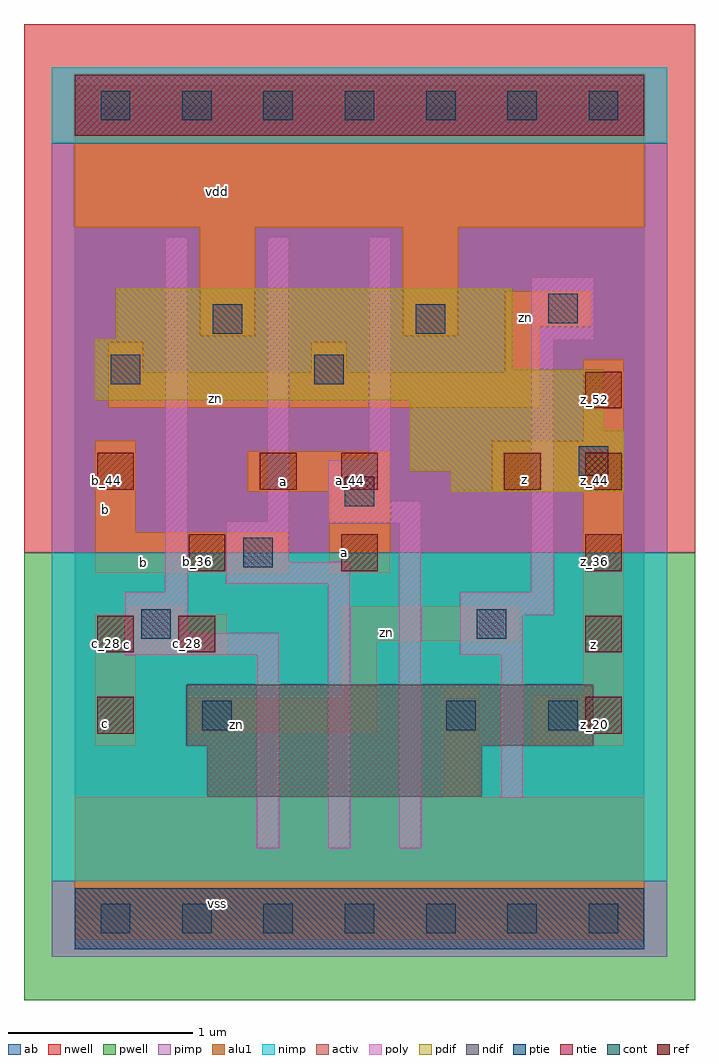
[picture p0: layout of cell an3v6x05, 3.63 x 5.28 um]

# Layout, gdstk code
import gdstk
lib = gdstk.Library(unit=1e-6, precision=2.5e-09)
def R(c, l, rs):  # rectangles x0, y0, x1, y1
    for r in rs: c.add(gdstk.rectangle(r[:2], r[2:], *l))
def A(c, l, x, y, w, h, nx, ny, dx, dy):  # array of equal rectangles
    R(c, l, [(x+i*dx, y+j*dy, x+i*dx+w, y+j*dy+h) for i in range(nx) for j in range(ny)])
ndif = (3, 0)
pdif = (4, 0)
ntie = (5, 0)
ptie = (6, 0)
ref = (24, 0)
cont = (25, 0)
pwell = (41, 0)
nwell = (42, 0)
activ = (43, 0)
pimp = (44, 0)
nimp = (45, 0)
poly = (46, 0)
alu1 = (49, 0)
ab = (63, 0)

an3v6x05 = lib.new_cell('an3v6x05')
R(an3v6x05, ndif, [(0.715,0.66,2.2,0.935), (0.605,0.935,2.805,1.265)])
R(an3v6x05, pdif, [(2.035,2.31,2.97,2.42), (1.815,2.42,2.97,2.64), (1.815,2.64,2.86,2.805), (0.11,2.805,2.86,2.97), (0.11,2.97,2.365,3.135), (0.22,3.135,2.365,3.41)])
R(an3v6x05, ntie, [(0,4.235,3.08,4.565)])
R(an3v6x05, ptie, [(0,-0.165,3.08,0.165)])
A(an3v6x05, ref, 2.76, 1, 0.2, 0.2, 1, 5, 0, 0.44)
R(an3v6x05, ref, [(0.12,1,0.32,1.2), (0.12,1.44,0.32,1.64), (0.56,1.44,0.76,1.64), (0.615,1.88,0.815,2.08), (1.44,1.88,1.64,2.08), (0.12,2.32,0.32,2.52), (1,2.32,1.2,2.52), (1.44,2.32,1.64,2.52), (2.32,2.32,2.52,2.52)])
A(an3v6x05, cont, 0.14, -0.08, 0.16, 0.16, 7, 2, 0.44, 4.4)
R(an3v6x05, cont, [(0.69,1.02,0.85,1.18), (2.01,1.02,2.17,1.18), (2.56,1.02,2.72,1.18), (0.36,1.515,0.52,1.675), (2.175,1.515,2.335,1.675), (0.91,1.9,1.07,2.06), (1.46,2.23,1.62,2.39), (2.725,2.395,2.885,2.555), (0.195,2.89,0.355,3.05), (1.295,2.89,1.455,3.05), (0.745,3.165,0.905,3.325), (1.845,3.165,2.005,3.325), (2.56,3.22,2.72,3.38)])
R(an3v6x05, pwell, [(-0.275,-0.44,3.355,1.98)])
R(an3v6x05, nwell, [(-0.275,1.98,3.355,4.84)])
R(an3v6x05, activ, [(0,-0.165,3.08,0.165), (0.715,0.66,2.2,0.935), (0.605,0.935,2.805,1.265), (2.035,2.31,2.97,2.42), (1.815,2.42,2.97,2.64), (1.815,2.64,2.86,2.805), (0.11,2.805,2.86,2.97), (0.11,2.97,2.365,3.135), (0.22,3.135,2.365,3.41), (0,4.235,3.08,4.565)])
R(an3v6x05, pimp, [(-0.125,-0.205,3.205,0.205), (-0.125,1.98,3.205,4.195)])
R(an3v6x05, nimp, [(-0.125,0.205,3.205,1.98), (-0.125,4.195,3.205,4.605)])
R(an3v6x05, poly, [(0.985,0.38,1.105,1.425), (1.37,0.38,1.49,1.81), (1.755,0.38,1.875,2.14), (2.305,0.655,2.425,1.425), (0.27,1.425,1.105,1.545), (2.085,1.425,2.425,1.645), (0.27,1.545,0.61,1.765), (2.085,1.645,2.59,1.765), (0.49,1.765,0.61,3.69), (2.47,1.765,2.59,3.13), (0.82,1.81,1.49,1.93), (0.82,1.93,1.16,2.15), (1.37,2.14,1.875,2.26), (1.04,2.15,1.16,3.69), (1.37,2.26,1.71,2.48), (1.59,2.48,1.71,3.69), (2.47,3.13,2.81,3.47)])
R(an3v6x05, alu1, [(0,-0.11,3.08,0.66), (1.995,0.66,2.185,1.25), (0.11,0.935,0.33,1.43), (2.475,0.935,2.97,1.21), (0.62,1.005,1.635,1.195), (1.445,1.195,1.635,1.5), (2.75,1.21,2.97,2.31), (0.11,1.43,0.825,1.65), (1.445,1.5,2.405,1.69), (0.29,1.65,0.59,1.69), (0.11,1.87,1.155,2.09), (1.375,1.87,1.705,2.31), (0.11,2.09,0.33,2.585), (0.935,2.31,1.705,2.53), (2.255,2.31,2.97,2.585), (2.75,2.585,2.97,3.025), (0.18,2.765,2.515,2.955), (0.18,2.955,0.37,3.12), (1.28,2.955,1.47,3.12), (2.325,2.955,2.515,3.205), (0.675,3.15,0.975,3.74), (1.775,3.15,2.075,3.74), (2.325,3.205,2.79,3.395), (0,3.74,3.08,4.51)])
R(an3v6x05, ab, [(0,0,3.08,4.4)])
an3v6x05.add(gdstk.Label('vss', (0.77,0.0825), layer=49, texttype=0))
an3v6x05.add(gdstk.Label('z', (2.805,1.485), layer=49, texttype=0))
an3v6x05.add(gdstk.Label('zn', (0.8725,1.0525), layer=49, texttype=0))
an3v6x05.add(gdstk.Label('c', (0.165,1.0575), layer=49, texttype=0))
an3v6x05.add(gdstk.Label('zn', (1.685,1.5475), layer=49, texttype=0))
an3v6x05.add(gdstk.Label('c', (0.2875,1.485), layer=49, texttype=0))
an3v6x05.add(gdstk.Label('a', (1.4575,1.98), layer=49, texttype=0))
an3v6x05.add(gdstk.Label('b', (0.37,1.925), layer=49, texttype=0))
an3v6x05.add(gdstk.Label('z', (2.4325,2.3775), layer=49, texttype=0))
an3v6x05.add(gdstk.Label('a', (1.1275,2.365), layer=49, texttype=0))
an3v6x05.add(gdstk.Label('b', (0.165,2.2125), layer=49, texttype=0))
an3v6x05.add(gdstk.Label('zn', (0.7625,2.8125), layer=49, texttype=0))
an3v6x05.add(gdstk.Label('zn', (2.44,3.2525), layer=49, texttype=0))
an3v6x05.add(gdstk.Label('vdd', (0.77,3.9325), layer=49, texttype=0))
an3v6x05.add(gdstk.Label('z_52', (2.81,2.81), layer=24, texttype=0))
an3v6x05.add(gdstk.Label('a_44', (1.05,2.37), layer=24, texttype=0))
an3v6x05.add(gdstk.Label('a_44', (1.49,2.37), layer=24, texttype=0))
an3v6x05.add(gdstk.Label('b_36', (0.665,1.93), layer=24, texttype=0))
an3v6x05.add(gdstk.Label('b_44', (0.17,2.37), layer=24, texttype=0))
an3v6x05.add(gdstk.Label('c_20', (0.17,1.05), layer=24, texttype=0))
an3v6x05.add(gdstk.Label('z_20', (2.81,1.05), layer=24, texttype=0))
an3v6x05.add(gdstk.Label('z_44', (2.81,2.37), layer=24, texttype=0))
an3v6x05.add(gdstk.Label('z_28', (2.81,1.49), layer=24, texttype=0))
an3v6x05.add(gdstk.Label('z_36', (2.81,1.93), layer=24, texttype=0))
an3v6x05.add(gdstk.Label('a_36', (1.49,1.93), layer=24, texttype=0))
an3v6x05.add(gdstk.Label('z_44', (2.37,2.37), layer=24, texttype=0))
an3v6x05.add(gdstk.Label('c_28', (0.17,1.49), layer=24, texttype=0))
an3v6x05.add(gdstk.Label('c_28', (0.61,1.49), layer=24, texttype=0))

lib.write_gds('an3v6x05.gds')
